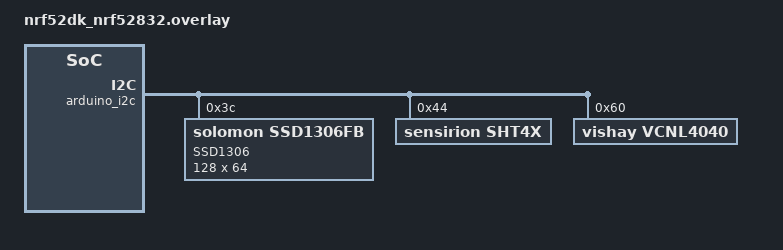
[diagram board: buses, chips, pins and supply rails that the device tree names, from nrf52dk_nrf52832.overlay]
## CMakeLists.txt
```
cmake_minimum_required(VERSION 3.20.0)
find_package(Zephyr REQUIRED HINTS $ENV{ZEPHYR_BASE})

project(oledWithSht40)

target_sources(app PRIVATE src/main.c)
```

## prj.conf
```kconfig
CONFIG_I2C=y
CONFIG_SENSOR=y
CONFIG_SHT4X=y
CONFIG_VCNL4040=y
CONFIG_VCNL4040_ENABLE_ALS=y
CONFIG_CBPRINTF_FP_SUPPORT=y

# Memory and Stack Configuration
CONFIG_HEAP_MEM_POOL_SIZE=16384
CONFIG_MAIN_STACK_SIZE=4096

# Debugging and Assertions
CONFIG_DEBUG_OPTIMIZATIONS=y
CONFIG_ASSERT=y

# Enable I2C support
CONFIG_I2C=y

# Display Configuration
CONFIG_DISPLAY=y
# CONFIG_DISPLAY_LOG_LEVEL_DBG=y

# Enable Logging
# CONFIG_LOG=y

# SSD1306 OLED Display Driver
CONFIG_SSD1306=y
# CONFIG_SSD1306_SH1106_COMPATIBLE=n
CONFIG_SSD1306_DEFAULT_CONTRAST=128

# Console Configuration
CONFIG_CONSOLE=y
# Character Framebuffer
CONFIG_CHARACTER_FRAMEBUFFER=y
```

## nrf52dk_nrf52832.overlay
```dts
&arduino_i2c {
	status = "okay";
	compatible = "nordic,nrf-twi";

	ssd1306_ssd1306_128x64_I2C: ssd1306@3c {
		compatible = "solomon,ssd1306fb";
		reg = <0x3c>;
		label = "SSD1306";
		width = <128>;
		height = <64>;
		segment-offset = <0>;
		page-offset = <0>;
		display-offset = <0>;
		multiplex-ratio = <63>;
		segment-remap;
		com-invdir;
		prechargep = <0x22>;
	};

	sht4x@44 {// Node for the SHT4x sensor with I2C address 0x44
		compatible = "sensirion,sht4x"; // SHT4x sensor compatible string
		reg = <0x44>;                   // I2C address of the SHT4x sensor
		label = "SHT4X";                // Optional label for the sensor
		status = "okay";                // Enable the sensor
		repeatability = <2>;            // Sensor repeatability setting (if applicable)
	};
	vcnl4040@60 {
		status = "okay";
		compatible = "vishay,vcnl4040";
		reg = <0x60>;
		led-current = <200>;
		led-duty-cycle = <320>;
	};
};

/* For Node Configuration only*/
// &pinctrl {
// 	uart0_default: uart0_default {
// 		group1 {
// 			psels = <NRF_PSEL(UART_TX, 0, 24)>, //6   for nrf52dk5832 / 5840
// 				<NRF_PSEL(UART_RX, 0, 23)>,   //8	  for nrf52dk5832
// 				<NRF_PSEL(UART_RTS, 0, 5)>,
// 				<NRF_PSEL(UART_CTS, 0, 7)>;
// 		};
// 	};

// 	uart0_sleep: uart0_sleep {
// 		group1 {
// 			psels = <NRF_PSEL(UART_TX, 0, 24)>,    //6
// 				<NRF_PSEL(UART_RX, 0, 23)>,        //8
// 				<NRF_PSEL(UART_RTS, 0, 5)>,
// 				<NRF_PSEL(UART_CTS, 0, 7)>;
// 			low-power-enable;
// 		};
// 	};
// 	i2c0_default: i2c0_default {
// 		group1 {
// 			psels = <NRF_PSEL(TWIM_SDA, 0, 26)>,  
// 				<NRF_PSEL(TWIM_SCL, 0, 25)>;      
// 		};
// 	};

// 	i2c0_sleep: i2c0_sleep {
// 		group1 {
// 			psels = <NRF_PSEL(TWIM_SDA, 0, 26)>,   
// 				<NRF_PSEL(TWIM_SCL, 0, 25)>;        
// 			low-power-enable;
// 		};
// 	};

	

// };
```

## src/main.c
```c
#include <zephyr/kernel.h>          // Kernel APIs
#include <zephyr/device.h>          // Device management APIs
#include <zephyr/drivers/display.h> // Display operations APIs
#include <zephyr/display/cfb.h>     // Character framebuffer APIs
#include <zephyr/drivers/sensor.h>  // Sensor operations APIs
#include <stdio.h>

#define SLEEP_DURATION_MS 1000      // Sleep duration between updates

// Function to update OLED display with sensor values
void update_display(const struct device *oled_dev, int lux, double temp, double hum, uint8_t font_height)
{
    char display_str[32];             // Buffer for display strings
    cfb_framebuffer_clear(oled_dev, false); // Clear display buffer

    snprintf(display_str, sizeof(display_str), "Lux: %d", lux);
    cfb_print(oled_dev, display_str, 0, 0); // Display Lux value

    snprintf(display_str, sizeof(display_str), "Temp: %.2fC", temp);
    cfb_print(oled_dev, display_str, 0, font_height); // Display temperature

    snprintf(display_str, sizeof(display_str), "Hum: %.2f%%", hum);
    cfb_print(oled_dev, display_str, 0, 2 * font_height); // Display humidity

    cfb_framebuffer_finalize(oled_dev); // Finalize display update
}

void main(void)
{
    // Get device bindings
    const struct device *oled_dev = device_get_binding("SSD1306");
    const struct device *vcnl = DEVICE_DT_GET_ANY(vishay_vcnl4040);
    const struct device *sht = DEVICE_DT_GET_ANY(sensirion_sht4x);

    // Check if OLED is ready and initialize
    if (!oled_dev || !device_is_ready(oled_dev))
    {
        printk("OLED Display initialization failed.\n");
        return;
    }
    if (display_set_pixel_format(oled_dev, PIXEL_FORMAT_MONO10) != 0 || cfb_framebuffer_init(oled_dev) != 0)
    {
        printk("OLED Display: Initialization failed\n");
        return;
    }

    cfb_framebuffer_clear(oled_dev, true);   // Clear display
    cfb_framebuffer_invert(oled_dev);        // Invert display colors
    display_blanking_off(oled_dev);          // Turn off display blanking

    // Get font size for text positioning
    uint8_t font_width, font_height;
    cfb_get_font_size(oled_dev, 0, &font_width, &font_height);

    int counter = 0;                         // Initialize counter
    while (1)
    {
        int lux = 0;                         // Default Lux value
        double temp = 0.0, hum = 0.0;        // Default temperature and humidity values

        // Fetch VCNL4040 sensor data if available
        if (device_is_ready(vcnl))
        {
            struct sensor_value lux_val;
            if (sensor_sample_fetch(vcnl) == 0 && sensor_channel_get(vcnl, SENSOR_CHAN_LIGHT, &lux_val) == 0)
            {
                lux = lux_val.val1;           // Store Lux value
            }
        }

        // Fetch SHT4x sensor data if available
        if (device_is_ready(sht))
        {
            struct sensor_value temp_val, hum_val;
            if (sensor_sample_fetch(sht) == 0)
            {
                if (sensor_channel_get(sht, SENSOR_CHAN_AMBIENT_TEMP, &temp_val) == 0)
                {
                    temp = sensor_value_to_double(&temp_val); // Store temperature
                }
                if (sensor_channel_get(sht, SENSOR_CHAN_HUMIDITY, &hum_val) == 0)
                {
                    hum = sensor_value_to_double(&hum_val);  // Store humidity
                }
            }
        }

        // Update OLED display with sensor values
        update_display(oled_dev, lux, temp, hum, font_height);

        // Log sensor data to console
        printk("Lux: %d, Temp: %.2f°C, Humidity: %.2f%%RH\n", lux, temp, hum);
        printk("Time: %d sec\n", counter++);

        k_msleep(SLEEP_DURATION_MS);         // Wait before next update
    }
}
```
